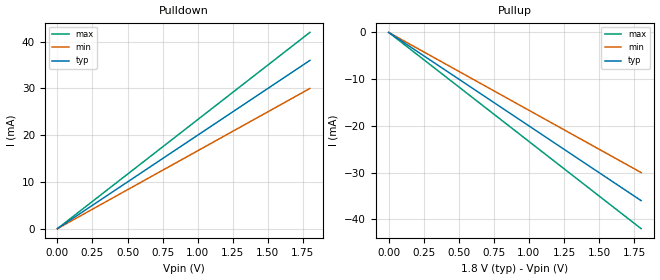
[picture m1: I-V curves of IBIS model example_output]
| SPDX-License-Identifier: MIT
| Copyright (c) 2026 SigHarmonic
| Independently authored numerical teaching fixture; not a Marvell or AMD model.
[IBIS Ver] 7.2
[File Name] illustrative-rgmii.ibs
[File Rev] 0.1
[Component] EXAMPLE_PHY
[Manufacturer] SigHarmonic Teaching Model
[Package]
R_pkg 0.10 0.08 0.12
L_pkg 0.8n 0.6n 1.0n
C_pkg 0.2p 0.1p 0.3p
[Pin] signal_name model_name R_pin L_pin C_pin
44 RXD0 example_output NA NA NA
[Component] EXAMPLE_FPGA
[Manufacturer] SigHarmonic Teaching Model
[Package]
R_pkg 0.10 0.08 0.12
L_pkg 0.8n 0.6n 1.0n
C_pkg 0.2p 0.1p 0.3p
[Pin] signal_name model_name R_pin L_pin C_pin
J10 RXD0 example_input NA NA NA
[Model] example_input
Model_type Input
Vinl = 0.3
Vinh = 0.7
C_comp 2.0p 1.8p 2.2p
[Voltage Range] 1.8 1.7 1.9
| Models and submodels in the file (2): example_output (Output), example_input (Input)
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[Model] example_output
Model_type Output
C_comp 1.5p 1.2p 1.8p
[Voltage Range] 1.8 1.7 1.9
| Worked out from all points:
|   slope of the pulldown table from 0 to 0.27 V, typ, clamps not added: 50 ohm
|   slope of the pullup table from 0 to 0.27 V, typ, clamps not added: 50 ohm
[Pulldown]
0V        0A         0A         0A
900mV     18mA       15mA       21mA
1.8V      36mA       30mA       42mA
[Pullup]
0V        0A         0A         0A
900mV     -18mA      -15mA      -21mA
1.8V      -36mA      -30mA      -42mA
[Ramp]
dV/dt_r 1.08/0.25n 1.02/0.30n 1.14/0.20n
dV/dt_f 1.08/0.25n 1.02/0.30n 1.14/0.20n
R_load = 50
